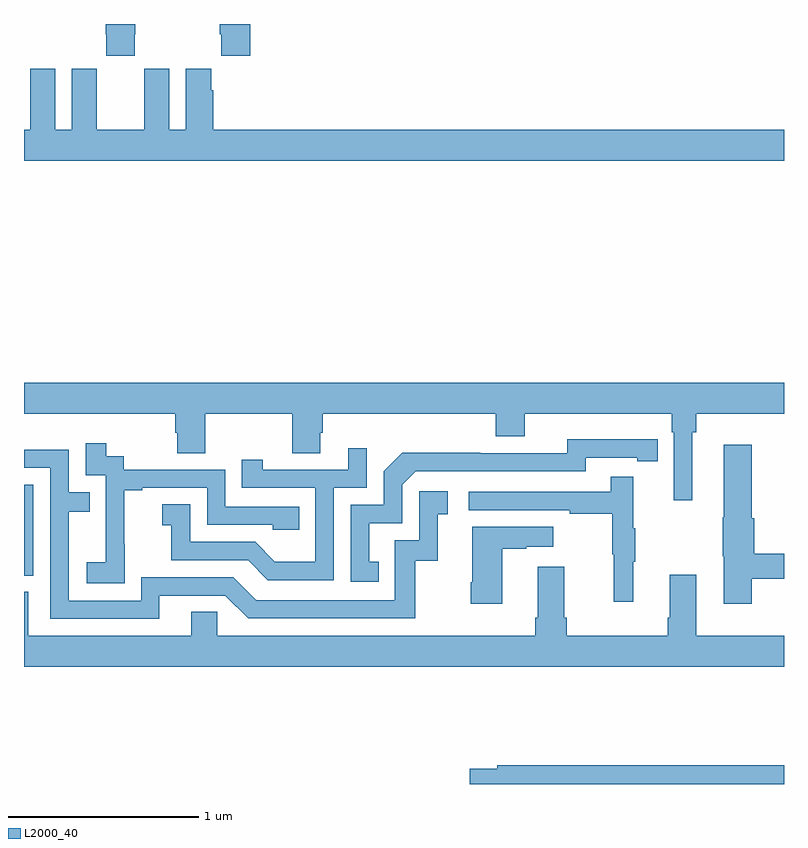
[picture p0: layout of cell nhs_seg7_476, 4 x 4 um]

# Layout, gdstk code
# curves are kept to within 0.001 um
import gdstk
lib = gdstk.Library(unit=1e-6, precision=1e-09)
def R(c, l, rs):  # rectangles x0, y0, x1, y1
    for r in rs: c.add(gdstk.rectangle(r[:2], r[2:], *l))
def P(c, l, *ps):  # polygons
    for p in ps: c.add(gdstk.Polygon(p, *l))
L2000_40 = (2000, 40)

nhs_seg7_476 = lib.new_cell('nhs_seg7_476')
R(nhs_seg7_476, L2000_40, [(149,1001.097,149.049,1001.574)])
P(nhs_seg7_476, L2000_40, [(150.191,1004),(150.031,1004),(150.031,1003.945),(150.037,1003.945),(150.037,1003.833),(150.191,1003.833)],
  [(149.583,1003.945),(149.586,1003.945),(149.586,1004),(149.431,1004),(149.431,1003.945),(149.433,1003.945),(149.433,1003.833),(149.583,1003.833)],
  [(153,1003.444),(149.996,1003.444),(149.996,1003.652),(149.986,1003.652),(149.986,1003.765),(149.852,1003.765),(149.852,1003.444),(149.764,1003.444),(149.764,1003.765),(149.634,1003.765),(149.634,1003.652),(149.633,1003.652),(149.633,1003.444),(149.383,1003.444),(149.383,1003.652),(149.382,1003.652),(149.382,1003.765),(149.252,1003.765),(149.252,1003.444),(149.164,1003.444),(149.164,1003.765),(149.034,1003.765),(149.034,1003.652),(149.033,1003.652),(149.033,1003.444),(149,1003.444),(149,1003.28),(153,1003.28)],
  [(152.518,1001.852),(152.537,1001.852),(152.537,1001.948),(153,1001.948),(153,1002.112),(149,1002.112),(149,1001.948),(149.795,1001.948),(149.795,1001.85),(149.807,1001.85),(149.807,1001.74),(149.955,1001.74),(149.955,1001.948),(150.412,1001.948),(150.412,1001.74),(150.559,1001.74),(150.559,1001.85),(150.572,1001.85),(150.572,1001.948),(151.484,1001.948),(151.484,1001.831),(151.636,1001.831),(151.636,1001.948),(152.408,1001.948),(152.408,1001.852),(152.421,1001.852),(152.421,1001.493),(152.518,1001.493)],
  [(150.866,1001.169),(150.817,1001.169),(150.817,1001.373),(150.99,1001.373),(150.99,1001.574),(151.062,1001.646),(151.956,1001.646),(151.956,1001.718),(152.228,1001.718),(152.228,1001.698),(152.336,1001.698),(152.336,1001.814),(151.86,1001.815),(151.86,1001.742),(151.4,1001.742),(151.4,1001.744),(150.992,1001.744),(150.894,1001.646),(150.894,1001.469),(150.72,1001.469),(150.72,1001.064),(150.866,1001.064)],
  [(149.529,1001.263),(149.528,1001.263),(149.528,1001.547),(149.623,1001.547),(149.623,1001.559),(149.964,1001.559),(149.964,1001.364),(150.309,1001.364),(150.309,1001.337),(150.449,1001.337),(150.449,1001.46),(150.06,1001.46),(150.06,1001.655),(149.526,1001.655),(149.526,1001.724),(149.434,1001.724),(149.434,1001.794),(149.325,1001.794),(149.325,1001.625),(149.43,1001.625),(149.43,1001.396),(149.429,1001.396),(149.429,1001.167),(149.331,1001.167),(149.331,1001.057),(149.529,1001.057)],
  [(152.83,1001.081),(153,1001.081),(153,1001.211),(152.843,1001.211),(152.843,1001.399),(152.83,1001.399),(152.83,1001.785),(152.684,1001.785),(152.684,1001.405),(152.677,1001.405),(152.677,1001.199),(152.684,1001.199),(152.684,1000.95),(152.83,1000.95)],
  [(150.63,1001.559),(150.804,1001.559),(150.804,1001.767),(150.707,1001.767),(150.707,1001.655),(150.256,1001.655),(150.256,1001.707),(150.145,1001.707),(150.145,1001.559),(150.534,1001.559),(150.534,1001.17),(150.32,1001.17),(150.216,1001.274),(149.874,1001.274),(149.874,1001.473),(149.727,1001.473),(149.727,1001.363),(149.776,1001.363),(149.776,1001.178),(150.179,1001.178),(150.284,1001.073),(150.63,1001.073)],
  [(149.713,1000.992),(150.06,1000.992),(150.18,1000.872),(151.06,1000.872),(151.06,1001.175),(151.178,1001.175),(151.178,1001.421),(151.231,1001.421),(151.231,1001.542),(151.08,1001.542),(151.08,1001.283),(150.951,1001.283),(150.951,1000.968),(150.222,1000.968),(150.102,1001.088),(149.616,1001.088),(149.616,1000.965),(149.235,1000.965),(149.235,1001.434),(149.345,1001.434),(149.345,1001.535),(149.235,1001.535),(149.235,1001.76),(149,1001.76),(149,1001.664),(149.139,1001.664),(149.139,1000.869),(149.713,1000.869)],
  [(152.207,1001.171),(152.218,1001.171),(152.218,1001.345),(152.207,1001.345),(152.207,1001.617),(152.089,1001.617),(152.089,1001.538),(151.341,1001.538),(151.341,1001.442),(151.873,1001.442),(151.873,1001.422),(152.097,1001.422),(152.097,1001.208),(152.104,1001.208),(152.104,1000.959),(152.207,1000.959)],
  [(151.516,1001.239),(151.643,1001.239),(151.643,1001.249),(151.786,1001.249),(151.786,1001.353),(151.358,1001.353),(151.358,1001.062),(151.351,1001.062),(151.351,1000.95),(151.516,1000.95)],
  [(153,1000.78),(152.539,1000.78),(152.539,1001.101),(152.399,1001.101),(152.399,1000.876),(152.387,1000.876),(152.387,1000.78),(151.856,1000.78),(151.856,1000.876),(151.843,1000.876),(151.843,1001.143),(151.703,1001.143),(151.703,1000.876),(151.691,1000.876),(151.691,1000.78),(150.018,1000.78),(150.018,1000.907),(149.879,1000.907),(149.879,1000.78),(149.023,1000.78),(149.023,1001.012),(149,1001.012),(149,1000.616),(153,1000.616)],
  [(153,1000.1),(151.492,1000.1),(151.492,1000.08),(151.346,1000.08),(151.346,1000),(153,1000)])

lib.write_gds('nhs_seg7_476.gds')
